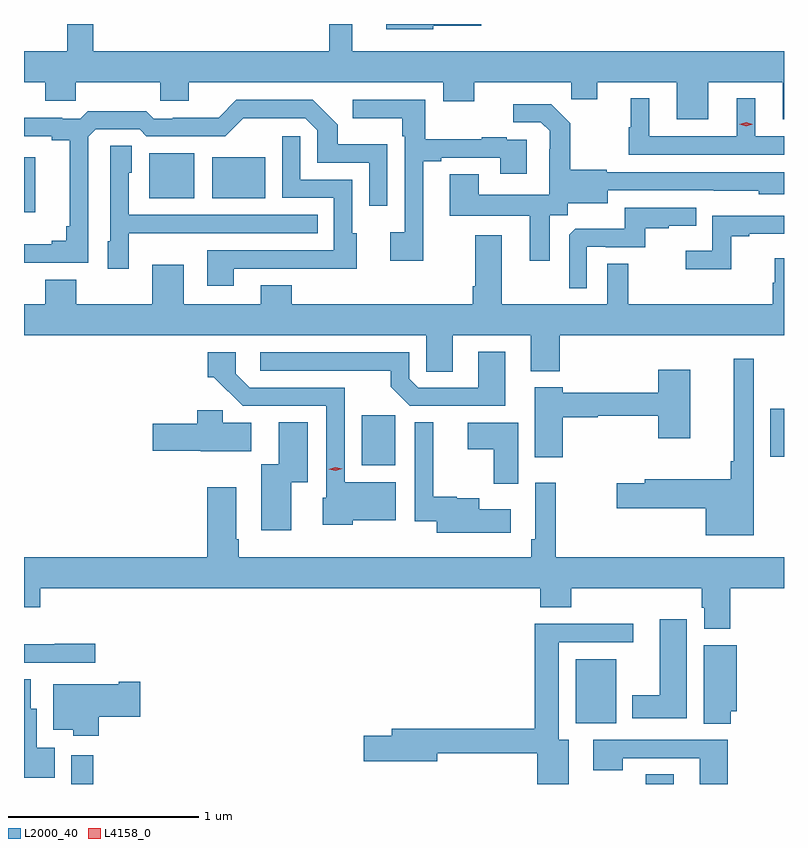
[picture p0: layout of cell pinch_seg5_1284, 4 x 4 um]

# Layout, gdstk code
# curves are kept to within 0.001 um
import gdstk
lib = gdstk.Library(unit=1e-6, precision=1e-09)
def R(c, l, rs):  # rectangles x0, y0, x1, y1
    for r in rs: c.add(gdstk.rectangle(r[:2], r[2:], *l))
def P(c, l, *ps):  # polygons
    for p in ps: c.add(gdstk.Polygon(p, *l))
L2000_40 = (2000, 40)
L4158_0 = (4158, 0)

pinch_seg5_1284 = lib.new_cell('pinch_seg5_1284')
R(pinch_seg5_1284, L2000_40, [(407.109,849.071,407.225,849.223), (410.134,849.071,410.281,849.122), (409.766,849.392,409.978,849.727), (408.638,850.748,408.814,851.012), (410.789,850.793,410.861,851.047), (406.861,852.08,406.921,852.37), (407.519,852.155,407.758,852.391), (407.852,852.155,408.13,852.37)])
P(pinch_seg5_1284, L2000_40, [(410.461,852.764),(410.855,852.764),(410.855,852.57),(410.861,852.57),(410.861,852.928),(408.589,852.928),(408.589,853.071),(408.468,853.071),(408.468,852.928),(407.225,852.928),(407.225,853.071),(407.089,853.071),(407.089,852.928),(406.861,852.928),(406.861,852.764),(406.973,852.764),(406.973,852.666),(407.133,852.666),(407.133,852.764),(407.578,852.764),(407.578,852.666),(407.728,852.666),(407.728,852.764),(409.067,852.764),(409.067,852.665),(409.231,852.665),(409.231,852.764),(409.741,852.764),(409.741,852.674),(409.879,852.674),(409.879,852.764),(410.297,852.764),(410.297,852.57),(410.461,852.57)],
  [(409.014,853.061),(409.267,853.061),(409.267,853.071),(408.767,853.071),(408.767,853.043),(409.014,853.043)],
  [(410.861,852.48),(410.71,852.48),(410.71,852.679),(410.612,852.679),(410.612,852.48),(410.152,852.48),(410.152,852.679),(410.054,852.679),(410.054,852.528),(410.043,852.528),(410.043,852.384),(410.861,852.384)],
  [(407.199,852.477),(407.238,852.516),(407.469,852.516),(407.505,852.48),(407.919,852.48),(408.014,852.575),(408.342,852.576),(408.405,852.513),(408.405,852.342),(408.678,852.342),(408.678,852.114),(408.774,852.114),(408.774,852.439),(408.513,852.439),(408.513,852.542),(408.382,852.672),(407.979,852.672),(407.885,852.578),(407.644,852.578),(407.644,852.573),(407.544,852.573),(407.505,852.613),(407.197,852.613),(407.157,852.573),(407.063,852.573),(407.063,852.578),(406.861,852.578),(406.861,852.48),(407.006,852.48),(407.006,852.458),(407.102,852.458),(407.102,852.007),(407.083,852.007),(407.083,851.93),(407.006,851.93),(407.006,851.911),(406.861,851.911),(406.861,851.814),(407.199,851.814)],
  [(408.961,852.348),(409.057,852.348),(409.057,852.366),(409.367,852.366),(409.367,852.282),(409.507,852.282),(409.507,852.462),(409.403,852.462),(409.403,852.475),(409.271,852.475),(409.271,852.464),(408.973,852.464),(408.973,852.672),(408.591,852.672),(408.591,852.575),(408.852,852.575),(408.852,852.479),(408.864,852.479),(408.864,851.974),(408.789,851.974),(408.789,851.826),(408.961,851.826)],
  [(409.627,852.064),(409.722,852.064),(409.722,852.128),(409.933,852.128),(409.933,852.195),(410.727,852.194),(410.727,852.176),(410.861,852.176),(410.861,852.291),(409.929,852.291),(409.929,852.304),(409.737,852.304),(409.737,852.549),(409.637,852.649),(409.437,852.649),(409.437,852.555),(409.581,852.555),(409.628,852.508),(409.628,852.413),(409.626,852.413),(409.626,852.172),(409.255,852.172),(409.255,852.281),(409.103,852.281),(409.103,852.062),(409.523,852.062),(409.523,851.826),(409.627,851.826)],
  [(407.965,851.784),(408.395,851.784),(408.395,851.783),(408.613,851.783),(408.613,851.97),(408.588,851.97),(408.588,852.252),(408.315,852.252),(408.315,852.481),(408.219,852.481),(408.219,852.156),(408.492,852.156),(408.492,851.88),(407.825,851.88),(407.825,851.694),(407.965,851.694)],
  [(407.412,851.969),(407.729,851.969),(407.729,851.97),(408.407,851.97),(408.407,852.066),(407.412,852.066),(407.412,852.288),(407.428,852.288),(407.428,852.431),(407.316,852.431),(407.316,851.928),(407.303,851.928),(407.303,851.784),(407.412,851.784)],
  [(409.824,851.898),(409.924,851.898),(409.924,851.895),(410.132,851.895),(410.132,851.997),(410.255,851.997),(410.255,852.008),(410.399,852.008),(410.399,852.105),(410.022,852.105),(410.022,851.993),(409.763,851.993),(409.731,851.961),(409.731,851.681),(409.824,851.681)],
  [(410.583,851.955),(410.677,851.955),(410.677,851.967),(410.861,851.967),(410.861,852.063),(410.484,852.063),(410.484,851.878),(410.343,851.878),(410.343,851.78),(410.583,851.78)],
  [(409.117,851.432),(409.529,851.432),(409.529,851.243),(409.682,851.243),(409.682,851.432),(410.861,851.432),(410.861,851.839),(410.813,851.839),(410.813,851.709),(410.801,851.709),(410.801,851.596),(410.041,851.596),(410.041,851.81),(409.932,851.81),(409.932,851.596),(409.375,851.596),(409.375,851.959),(409.235,851.959),(409.235,851.692),(409.223,851.692),(409.223,851.596),(408.271,851.596),(408.271,851.695),(408.107,851.695),(408.107,851.596),(407.701,851.596),(407.701,851.803),(407.537,851.803),(407.537,851.596),(407.137,851.596),(407.137,851.725),(406.973,851.725),(406.973,851.596),(406.861,851.596),(406.861,851.432),(408.978,851.432),(408.978,851.242),(409.117,851.242)],
  [(409.393,851.347),(409.253,851.347),(409.253,851.157),(408.936,851.157),(408.888,851.205),(408.888,851.343),(408.105,851.343),(408.105,851.247),(408.79,851.247),(408.79,851.163),(408.891,851.061),(409.393,851.061)],
  [(408.591,850.46),(408.817,850.46),(408.817,850.66),(408.549,850.66),(408.549,851.157),(408.048,851.157),(407.976,851.229),(407.976,851.343),(407.829,851.343),(407.829,851.213),(407.86,851.213),(408.012,851.061),(408.453,851.061),(408.453,850.578),(408.434,850.578),(408.434,850.436),(408.591,850.436)],
  [(410.701,851.308),(410.597,851.308),(410.597,850.771),(410.58,850.771),(410.58,850.675),(410.129,850.675),(410.129,850.653),(409.98,850.653),(409.98,850.523),(410.45,850.523),(410.45,850.379),(410.701,850.379)],
  [(409.697,851.002),(409.88,851.002),(409.88,851.01),(410.198,851.01),(410.198,850.89),(410.368,850.89),(410.368,851.251),(410.198,851.251),(410.198,851.131),(409.697,851.131),(409.697,851.158),(409.55,851.158),(409.55,850.791),(409.697,850.791)],
  [(408.057,850.972),(407.907,850.972),(407.907,851.037),(407.774,851.037),(407.774,850.968),(407.538,850.968),(407.538,850.826),(407.79,850.826),(407.79,850.822),(408.057,850.822)],
  [(408.268,850.658),(408.355,850.658),(408.355,850.976),(408.203,850.976),(408.203,850.755),(408.11,850.755),(408.11,850.407),(408.268,850.407)],
  [(409.423,850.516),(409.258,850.516),(409.258,850.576),(409.138,850.576),(409.138,850.584),(409.016,850.584),(409.016,850.976),(408.918,850.976),(408.918,850.454),(409.034,850.454),(409.034,850.394),(409.423,850.394)],
  [(409.462,850.972),(409.197,850.972),(409.197,850.832),(409.333,850.832),(409.333,850.65),(409.462,850.65)],
  [(410.577,850.1),(410.861,850.1),(410.861,850.264),(409.66,850.264),(409.66,850.657),(409.551,850.657),(409.551,850.36),(409.531,850.36),(409.531,850.264),(407.99,850.264),(407.99,850.36),(407.977,850.36),(407.977,850.633),(407.825,850.633),(407.825,850.264),(406.861,850.264),(406.861,850.001),(406.946,850.001),(406.946,850.1),(409.577,850.1),(409.577,850.001),(409.742,850.001),(409.742,850.1),(410.429,850.1),(410.429,849.999),(410.441,849.999),(410.441,849.887),(410.577,849.887)],
  [(410.35,849.937),(410.207,849.937),(410.207,849.538),(410.063,849.538),(410.063,849.416),(410.35,849.416)],
  [(409.729,849.304),(409.675,849.304),(409.675,849.816),(410.068,849.816),(410.068,849.914),(409.55,849.914),(409.55,849.362),(408.797,849.362),(408.797,849.326),(408.648,849.326),(408.648,849.191),(409.036,849.191),(409.036,849.234),(409.562,849.234),(409.562,849.071),(409.729,849.071)],
  [(407.236,849.809),(407.023,849.809),(407.023,849.806),(406.861,849.806),(406.861,849.708),(407.236,849.708)],
  [(410.58,849.455),(410.611,849.455),(410.611,849.802),(410.438,849.802),(410.438,849.388),(410.58,849.388)],
  [(407.024,849.262),(406.927,849.262),(406.927,849.466),(406.897,849.466),(406.897,849.623),(406.861,849.623),(406.861,849.104),(407.024,849.104)],
  [(407.255,849.425),(407.473,849.425),(407.473,849.608),(407.36,849.608),(407.36,849.595),(407.015,849.595),(407.015,849.356),(407.12,849.356),(407.12,849.326),(407.255,849.326)],
  [(410.565,849.303),(409.857,849.303),(409.857,849.144),(410.013,849.144),(410.013,849.207),(410.417,849.207),(410.417,849.071),(410.565,849.071)])
P(pinch_seg5_1284, L4158_0, [(410.661,852.534),(410.625,852.544),(410.625,852.544),(410.625,852.544),(410.661,852.554),(410.697,852.544),(410.697,852.544),(410.697,852.544)],
  [(408.501,850.719),(408.465,850.727),(408.464,850.727),(408.465,850.727),(408.5,850.739),(408.537,850.73),(408.537,850.73),(408.537,850.73)])

lib.write_gds('pinch_seg5_1284.gds')
